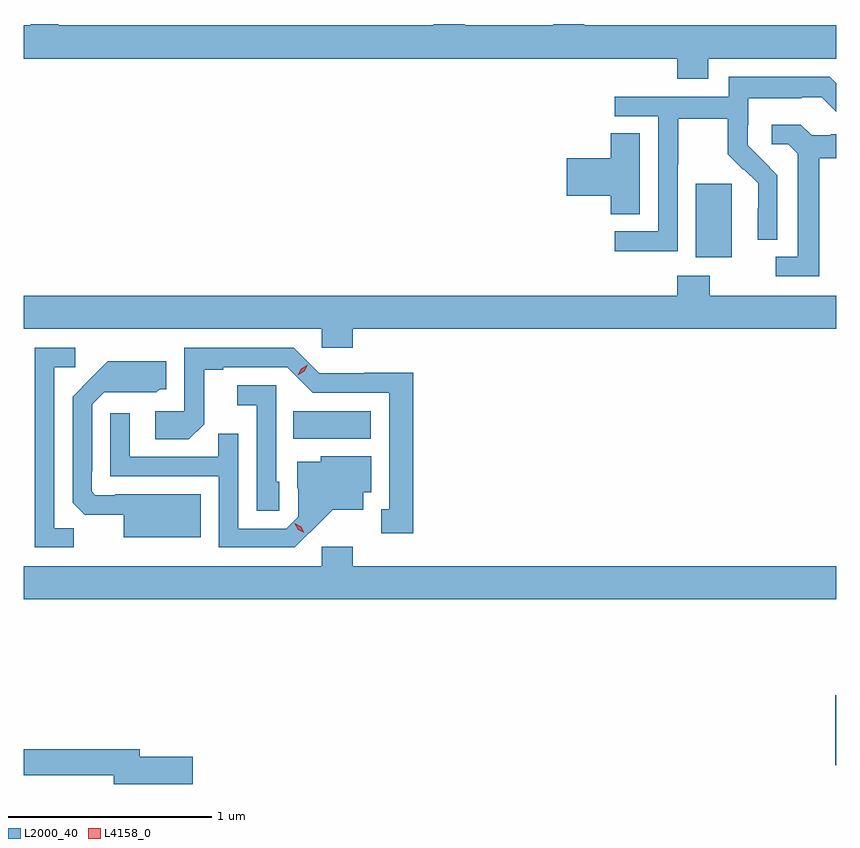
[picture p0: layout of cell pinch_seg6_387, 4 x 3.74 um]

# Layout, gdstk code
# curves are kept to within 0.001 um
import gdstk
lib = gdstk.Library(unit=1e-6, precision=1e-09)
def R(c, l, rs):  # rectangles x0, y0, x1, y1
    for r in rs: c.add(gdstk.rectangle(r[:2], r[2:], *l))
def P(c, l, *ps):  # polygons
    for p in ps: c.add(gdstk.Polygon(p, *l))
L2000_40 = (2000, 40)
L4158_0 = (4158, 0)

pinch_seg6_387 = lib.new_cell('pinch_seg6_387')
R(pinch_seg6_387, L2000_40, [(676.61,923.876,676.615,924.22), (673.942,925.484,674.323,925.618), (675.923,926.378,676.102,926.739)])
P(pinch_seg6_387, L2000_40, [(675.985,927.356),(676.615,927.356),(676.615,927.52),(675.374,927.52),(675.374,927.526),(675.221,927.526),(675.221,927.52),(674.785,927.52),(674.785,927.526),(674.633,927.526),(674.633,927.52),(672.785,927.52),(672.785,927.526),(672.649,927.526),(672.649,927.52),(672.615,927.52),(672.615,927.356),(675.833,927.356),(675.833,927.257),(675.985,927.257)],
  [(675.834,926.836),(675.837,926.836),(675.837,927.06),(676.081,927.06),(676.081,926.885),(676.158,926.808),(676.161,926.811),(676.232,926.741),(676.232,926.618),(676.23,926.618),(676.23,926.464),(676.326,926.464),(676.326,926.782),(676.18,926.93),(676.18,927.027),(676.182,927.027),(676.182,927.161),(676.445,927.161),(676.445,927.165),(676.545,927.165),(676.615,927.095),(676.615,927.233),(676.583,927.265),(676.086,927.265),(676.086,927.168),(675.525,927.168),(675.525,927.072),(675.738,927.072),(675.738,926.505),(675.525,926.505),(675.525,926.407),(675.834,926.407)],
  [(676.531,926.864),(676.615,926.864),(676.615,926.982),(676.588,926.982),(676.588,926.979),(676.494,926.979),(676.442,927.031),(676.299,927.031),(676.299,926.934),(676.38,926.934),(676.427,926.887),(676.427,926.379),(676.317,926.379),(676.317,926.283),(676.531,926.283)],
  [(675.649,926.987),(675.506,926.987),(675.506,926.864),(675.288,926.864),(675.288,926.681),(675.506,926.681),(675.506,926.59),(675.649,926.59)],
  [(674.234,926.024),(676.615,926.024),(676.615,926.188),(675.993,926.188),(675.993,926.287),(675.833,926.287),(675.833,926.188),(672.615,926.188),(672.615,926.024),(674.082,926.024),(674.082,925.931),(674.234,925.931)],
  [(674.533,925.808),(674.292,925.808),(674.292,925.806),(674.07,925.806),(673.944,925.932),(673.404,925.932),(673.404,925.62),(673.263,925.62),(673.263,925.48),(673.427,925.48),(673.503,925.556),(673.503,925.824),(673.597,925.824),(673.597,925.836),(673.911,925.836),(674.037,925.71),(674.414,925.71),(674.414,925.137),(674.375,925.137),(674.375,925.017),(674.533,925.017)],
  [(672.861,925.043),(672.765,925.043),(672.765,925.836),(672.868,925.836),(672.868,925.932),(672.669,925.932),(672.669,924.948),(672.861,924.948)],
  [(673.486,925.21),(673.066,925.21),(673.066,925.206),(672.966,925.206),(672.948,925.224),(672.948,925.324),(672.951,925.324),(672.951,925.653),(673.011,925.713),(673.268,925.712),(673.284,925.728),(673.315,925.728),(673.315,925.864),(673.027,925.864),(672.855,925.69),(672.855,925.168),(672.914,925.109),(673.106,925.109),(673.106,924.998),(673.486,924.998)],
  [(673.872,925.272),(673.857,925.272),(673.857,925.746),(673.665,925.746),(673.665,925.649),(673.761,925.649),(673.761,925.129),(673.872,925.129)],
  [(674.005,925.005),(674.135,925.133),(674.287,925.133),(674.287,925.22),(674.326,925.22),(674.326,925.396),(674.076,925.396),(674.076,925.369),(673.961,925.369),(673.961,925.24),(673.965,925.24),(673.965,925.098),(673.908,925.041),(673.671,925.041),(673.671,925.508),(673.573,925.508),(673.573,925.395),(673.137,925.395),(673.137,925.609),(673.041,925.609),(673.041,925.299),(673.575,925.299),(673.575,924.948),(673.948,924.948)],
  [(676.615,924.856),(674.234,924.856),(674.234,924.952),(674.082,924.952),(674.082,924.856),(672.615,924.856),(672.615,924.692),(676.615,924.692)],
  [(673.447,923.918),(673.186,923.918),(673.186,923.954),(672.615,923.954),(672.615,923.826),(673.058,923.826),(673.058,923.783),(673.447,923.783)])
P(pinch_seg6_387, L4158_0, [(673.964,925.796),(673.964,925.797),(673.981,925.829),(674.013,925.848),(674.013,925.848),(674.013,925.848),(673.996,925.815),(673.964,925.796)],
  [(673.996,925.02),(673.966,925.036),(673.949,925.065),(673.949,925.066),(673.95,925.066),(673.98,925.05),(673.996,925.02),(673.996,925.02)])

lib.write_gds('pinch_seg6_387.gds')
